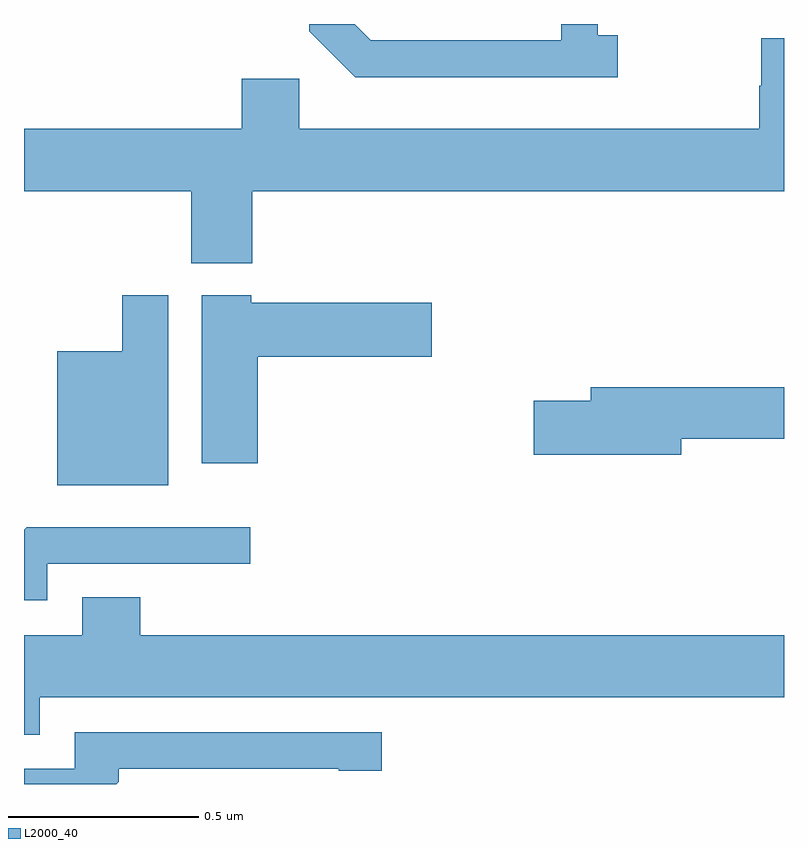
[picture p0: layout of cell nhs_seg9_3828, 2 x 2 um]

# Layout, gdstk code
import gdstk
lib = gdstk.Library(unit=1e-6, precision=1e-09)
def P(c, l, *ps):  # polygons
    for p in ps: c.add(gdstk.Polygon(p, *l))
L2000_40 = (2000, 40)

nhs_seg9_3828 = lib.new_cell('nhs_seg9_3828')
P(nhs_seg9_3828, L2000_40, [(159.562,1223.47),(159.51,1223.47),(159.51,1223.5),(159.414,1223.5),(159.414,1223.457),(158.913,1223.457),(158.87,1223.5),(158.751,1223.5),(158.751,1223.481),(158.872,1223.36),(159.562,1223.36)],
  [(158.6,1223.06),(160,1223.06),(160,1223.462),(159.94,1223.462),(159.94,1223.337),(159.935,1223.337),(159.935,1223.224),(158.724,1223.224),(158.724,1223.356),(158.573,1223.356),(158.573,1223.224),(158,1223.224),(158,1223.06),(158.44,1223.06),(158.44,1222.871),(158.6,1222.871)],
  [(158.38,1222.786),(158.258,1222.786),(158.258,1222.639),(158.087,1222.639),(158.087,1222.286),(158.38,1222.286)],
  [(158.615,1222.625),(159.073,1222.625),(159.073,1222.767),(158.598,1222.767),(158.598,1222.786),(158.468,1222.786),(158.468,1222.344),(158.615,1222.344)],
  [(159.73,1222.408),(160,1222.408),(160,1222.544),(159.491,1222.544),(159.491,1222.508),(159.342,1222.508),(159.342,1222.366),(159.73,1222.366)],
  [(158.061,1222.08),(158.596,1222.08),(158.596,1222.176),(158.007,1222.176),(158,1222.169),(158,1221.984),(158.061,1221.984)],
  [(158.041,1221.728),(160,1221.728),(160,1221.892),(158.306,1221.892),(158.306,1221.991),(158.153,1221.991),(158.153,1221.892),(158,1221.892),(158,1221.629),(158.041,1221.629)],
  [(158.249,1221.506),(158.249,1221.54),(158.828,1221.54),(158.828,1221.535),(158.941,1221.535),(158.941,1221.636),(158.133,1221.636),(158.133,1221.54),(158,1221.54),(158,1221.5),(158.243,1221.5)])

lib.write_gds('nhs_seg9_3828.gds')
